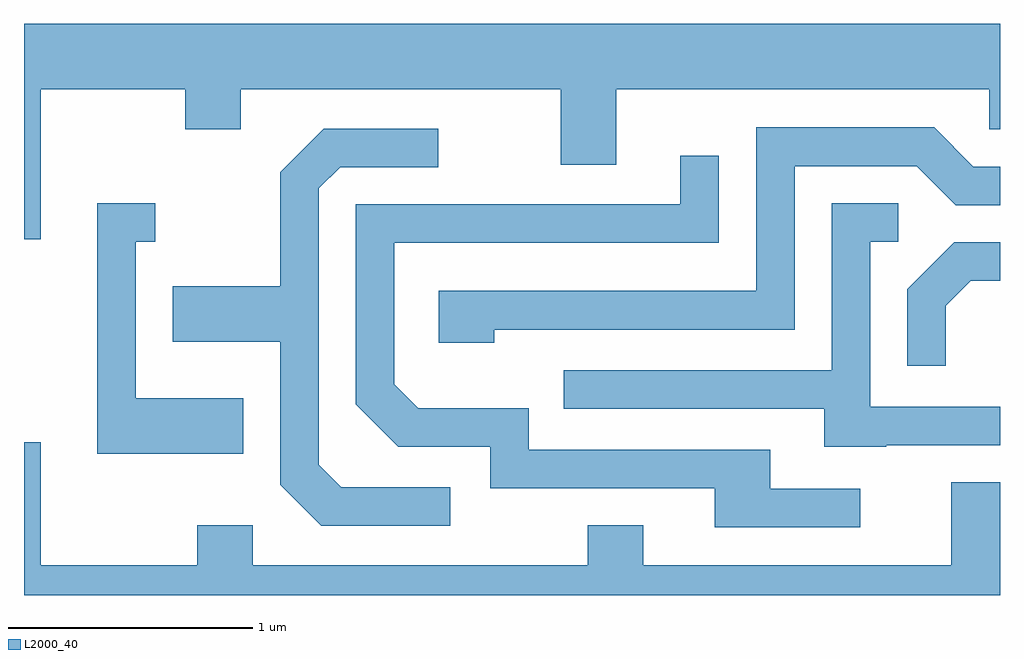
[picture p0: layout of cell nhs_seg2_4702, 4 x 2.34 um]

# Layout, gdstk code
import gdstk
lib = gdstk.Library(unit=1e-6, precision=1e-09)
def P(c, l, *ps):  # polygons
    for p in ps: c.add(gdstk.Polygon(p, *l))
L2000_40 = (2000, 40)

nhs_seg2_4702 = lib.new_cell('nhs_seg2_4702')
P(nhs_seg2_4702, L2000_40, [(323.679,1043.876),(324.271,1043.876),(324.271,1043.711),(324.499,1043.711),(324.499,1043.876),(325.811,1043.876),(325.811,1043.566),(326.039,1043.566),(326.039,1043.876),(327.566,1043.876),(327.566,1043.711),(327.611,1043.711),(327.611,1044.144),(323.611,1044.144),(323.611,1043.261),(323.679,1043.261)],
  [(325.539,1042.891),(326.769,1042.891),(326.769,1043.561),(327.269,1043.561),(327.429,1043.401),(327.611,1043.401),(327.611,1043.559),(327.502,1043.559),(327.342,1043.719),(326.611,1043.719),(326.611,1043.049),(325.311,1043.049),(325.311,1042.836),(325.539,1042.836)],
  [(325.358,1042.244),(324.912,1042.244),(324.819,1042.337),(324.819,1043.469),(324.907,1043.556),(325.308,1043.556),(325.308,1043.714),(324.839,1043.714),(324.661,1043.536),(324.661,1043.069),(324.221,1043.069),(324.221,1042.841),(324.661,1042.841),(324.661,1042.254),(324.829,1042.086),(325.358,1042.086)],
  [(327.038,1042.239),(326.669,1042.239),(326.669,1042.399),(325.679,1042.399),(325.679,1042.569),(325.227,1042.569),(325.129,1042.667),(325.129,1043.246),(326.459,1043.246),(326.459,1043.603),(326.301,1043.603),(326.301,1043.404),(324.971,1043.404),(324.971,1042.584),(325.144,1042.411),(325.521,1042.411),(325.521,1042.241),(326.441,1042.241),(326.441,1042.081),(327.038,1042.081)],
  [(324.509,1042.609),(324.069,1042.609),(324.069,1043.251),(324.148,1043.251),(324.148,1043.409),(323.911,1043.409),(323.911,1042.381),(324.509,1042.381)],
  [(327.145,1042.416),(327.611,1042.416),(327.611,1042.574),(327.079,1042.574),(327.079,1043.251),(327.193,1043.251),(327.193,1043.409),(326.921,1043.409),(326.921,1042.724),(325.823,1042.724),(325.823,1042.566),(326.891,1042.566),(326.891,1042.411),(327.145,1042.411)],
  [(327.389,1042.988),(327.492,1043.091),(327.611,1043.091),(327.611,1043.249),(327.424,1043.249),(327.231,1043.056),(327.231,1042.743),(327.389,1042.743)],
  [(327.611,1042.264),(327.411,1042.264),(327.411,1041.924),(326.149,1041.924),(326.149,1042.089),(325.921,1042.089),(325.921,1041.924),(324.549,1041.924),(324.549,1042.089),(324.321,1042.089),(324.321,1041.924),(323.679,1041.924),(323.679,1042.429),(323.611,1042.429),(323.611,1041.802),(327.611,1041.802)])

lib.write_gds('nhs_seg2_4702.gds')
